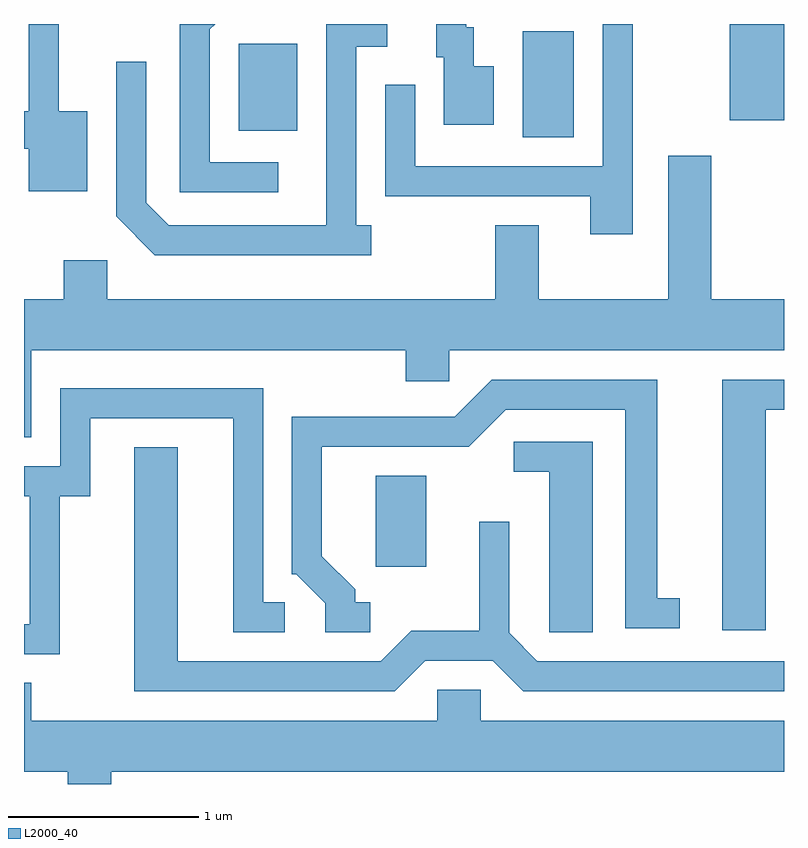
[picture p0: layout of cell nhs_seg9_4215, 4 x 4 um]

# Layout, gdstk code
import gdstk
lib = gdstk.Library(unit=1e-6, precision=1e-09)
def R(c, l, rs):  # rectangles x0, y0, x1, y1
    for r in rs: c.add(gdstk.rectangle(r[:2], r[2:], *l))
def P(c, l, *ps):  # polygons
    for p in ps: c.add(gdstk.Polygon(p, *l))
L2000_40 = (2000, 40)

nhs_seg9_4215 = lib.new_cell('nhs_seg9_4215')
R(nhs_seg9_4215, L2000_40, [(311.461,1979.576,311.729,1980.054), (312.236,1981.836,312.504,1982.394), (310.741,1981.871,311.049,1982.329), (313.326,1981.926,313.611,1982.432)])
P(nhs_seg9_4215, L2000_40, [(309.944,1981.974),(309.794,1981.974),(309.794,1982.432),(309.636,1982.432),(309.636,1981.974),(309.611,1981.974),(309.611,1981.776),(309.636,1981.776),(309.636,1981.551),(309.944,1981.551)],
  [(311.438,1981.374),(311.359,1981.374),(311.359,1982.311),(311.523,1982.311),(311.523,1982.432),(311.201,1982.432),(311.201,1981.374),(310.372,1981.374),(310.254,1981.492),(310.254,1982.233),(310.096,1982.233),(310.096,1981.419),(310.299,1981.216),(311.438,1981.216)],
  [(312.814,1982.432),(312.656,1982.432),(312.656,1981.684),(311.669,1981.684),(311.669,1982.113),(311.511,1982.113),(311.511,1981.526),(312.591,1981.526),(312.591,1981.326),(312.814,1981.326)],
  [(312.084,1982.209),(311.979,1982.209),(311.979,1982.414),(311.939,1982.414),(311.939,1982.432),(311.781,1982.432),(311.781,1982.256),(311.821,1982.256),(311.821,1981.901),(312.084,1981.901)],
  [(310.948,1981.704),(310.589,1981.704),(310.589,1982.404),(310.617,1982.432),(310.431,1982.432),(310.431,1981.546),(310.948,1981.546)],
  [(309.649,1980.716),(311.621,1980.716),(311.621,1980.551),(311.849,1980.551),(311.849,1980.716),(313.611,1980.716),(313.611,1980.984),(313.229,1980.984),(313.229,1981.739),(313.001,1981.739),(313.001,1980.984),(312.319,1980.984),(312.319,1981.374),(312.091,1981.374),(312.091,1980.984),(310.049,1980.984),(310.049,1981.189),(309.821,1981.189),(309.821,1980.984),(309.611,1980.984),(309.611,1980.256),(309.649,1980.256)],
  [(311.433,1979.389),(311.354,1979.389),(311.354,1979.457),(311.179,1979.632),(311.179,1980.206),(311.952,1980.206),(312.147,1980.401),(312.776,1980.401),(312.776,1979.251),(313.063,1979.251),(313.063,1979.409),(312.944,1979.409),(312.944,1980.559),(312.074,1980.559),(311.879,1980.364),(311.021,1980.364),(311.021,1979.536),(311.044,1979.536),(311.196,1979.384),(311.196,1979.231),(311.433,1979.231)],
  [(313.514,1980.401),(313.611,1980.401),(313.611,1980.559),(313.286,1980.559),(313.286,1979.241),(313.514,1979.241)],
  [(309.799,1979.946),(309.959,1979.946),(309.959,1980.356),(310.711,1980.356),(310.711,1979.231),(310.983,1979.231),(310.983,1979.389),(310.869,1979.389),(310.869,1980.514),(309.801,1980.514),(309.801,1980.104),(309.611,1980.104),(309.611,1979.946),(309.641,1979.946),(309.641,1979.274),(309.611,1979.274),(309.611,1979.116),(309.799,1979.116)],
  [(312.604,1980.234),(312.188,1980.234),(312.188,1980.076),(312.376,1980.076),(312.376,1979.231),(312.604,1979.231)],
  [(311.722,1979.081),(312.079,1979.081),(312.239,1978.921),(313.611,1978.921),(313.611,1979.079),(312.312,1979.079),(312.164,1979.227),(312.164,1979.813),(312.006,1979.813),(312.006,1979.239),(311.649,1979.239),(311.489,1979.079),(310.419,1979.079),(310.419,1980.204),(310.191,1980.204),(310.191,1978.921),(311.562,1978.921)],
  [(310.069,1978.496),(313.611,1978.496),(313.611,1978.764),(312.014,1978.764),(312.014,1978.929),(311.786,1978.929),(311.786,1978.764),(309.649,1978.764),(309.649,1978.964),(309.611,1978.964),(309.611,1978.496),(309.841,1978.496),(309.841,1978.432),(310.069,1978.432)])

lib.write_gds('nhs_seg9_4215.gds')
